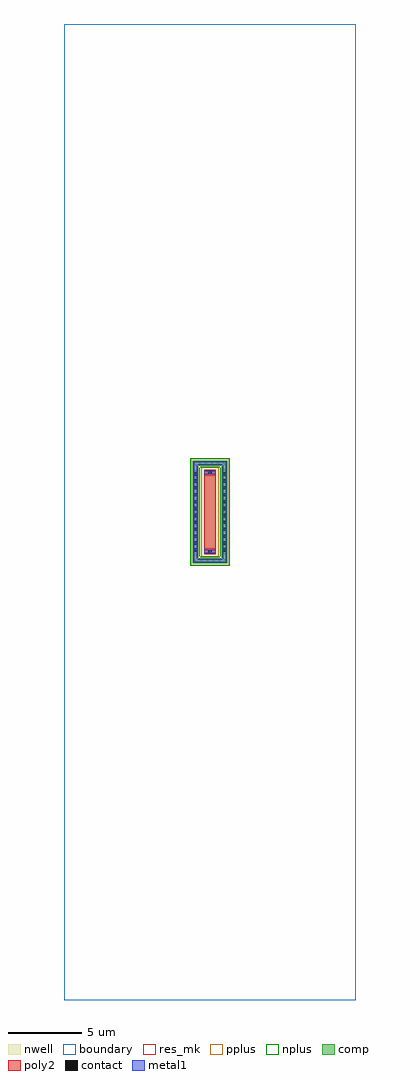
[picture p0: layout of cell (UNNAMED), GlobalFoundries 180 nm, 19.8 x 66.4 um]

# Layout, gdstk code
import gdstk
lib = gdstk.Library(unit=1e-6, precision=1e-09)
def R(c, l, rs):  # rectangles x0, y0, x1, y1
    for r in rs: c.add(gdstk.rectangle(r[:2], r[2:], *l))
def A(c, l, x, y, w, h, nx, ny, dx, dy):  # array of equal rectangles
    R(c, l, [(x+i*dx, y+j*dy, x+i*dx+w, y+j*dy+h) for i in range(nx) for j in range(ny)])
boundary = (0, 0)
nwell = (21, 0)
comp = (22, 0)
poly2 = (30, 0)
pplus = (31, 0)
nplus = (32, 0)
contact = (33, 0)
metal1 = (34, 0)
res_mk = (110, 5)

c__unnamed_ = lib.new_cell('(UNNAMED)')
R(c__unnamed_, boundary, [(-9.9,-33.2,9.9,33.2)])
R(c__unnamed_, nwell, [(-1.29,-3.62,1.29,3.62)])
R(c__unnamed_, comp, [(-1.17,-3.5,1.17,-3.14), (-1.17,-3.14,-0.81,3.14), (0.81,-3.14,1.17,3.14), (-1.17,3.14,1.17,3.5)])
R(c__unnamed_, poly2, [(-0.4,-2.86,0.4,2.86)])
R(c__unnamed_, pplus, [(-0.58,-3.04,0.58,3.04)])
R(c__unnamed_, nplus, [(-1.33,-3.66,1.33,-3.03), (-1.33,-3.03,-0.7,3.03), (0.7,-3.03,1.33,3.03), (-1.33,3.03,1.33,3.66)])
A(c__unnamed_, contact, -1.1, -2.695, 0.22, 0.22, 1, 12, 0, 0.47)
A(c__unnamed_, contact, 0.88, -2.695, 0.22, 0.22, 1, 12, 0, 0.47)
R(c__unnamed_, contact, [(-0.11,-2.79,0.11,-2.57), (-0.11,2.57,0.11,2.79)])
R(c__unnamed_, metal1, [(-1.105,-3.435,1.105,-3.205), (-1.105,-3.205,-0.875,3.205), (0.875,-3.205,1.105,3.205), (-0.39,-2.795,0.39,-2.565), (-0.39,2.565,0.39,2.795), (-1.105,3.205,1.105,3.435)])
R(c__unnamed_, res_mk, [(-0.4,-2.5,0.4,2.5)])

lib.write_gds('_UNNAMED_.gds')
